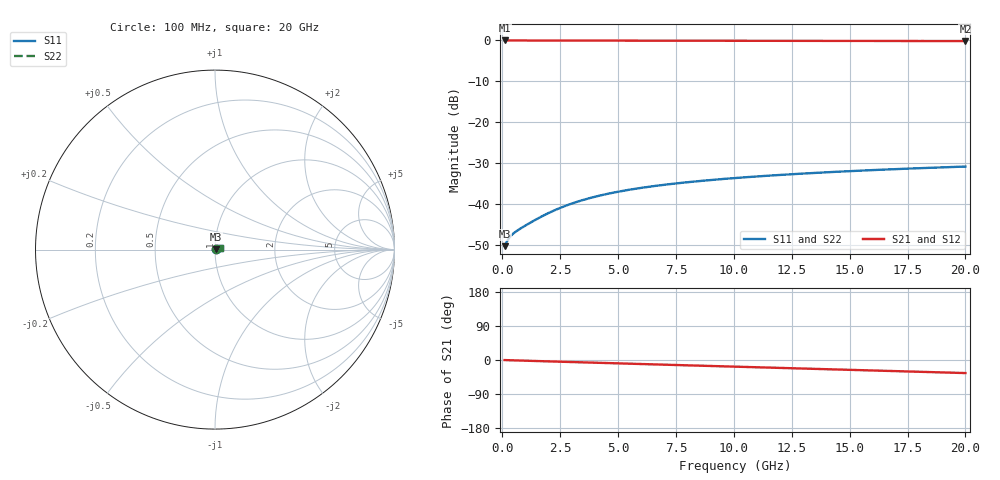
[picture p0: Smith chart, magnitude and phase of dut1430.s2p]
! Touchstone file exported from HFSS 2026.1.0
!  File:  C:/ffzhzh/LocalFiles/Ansys_Project_Files/temp_train_TMRDL_1430_1783166868_55132.aedt
!  Generated:  08:08:53 PM Jul  4, 2026
!  Design:  TMRDL
!  Project:  temp_train_TMRDL_1430_1783166868_55132
! Variables:
!  h_bsmrdl = 2um
!  h_ox = 20um
!  h_rdl = 5um
!  h_sub = 80um
!  h_tmrdl = 5.48um
!  h_tsv = 80um
!  h_via = 3um
!  l_bsmrdl = 300um
!  l_sub = 1028.89um
!  l_tmrdl = 628.89um
!  m_sub = 200um
!  pitch = 19.44um
!  r_tsv = 6um
!  s_tmrdl = 10um
!  w_bsmrdl = 18um
!  w_sub = 500um
!  w_tmrdl = 14.45um
!  x_tsv_center1 = 636.115um
!  x_tsv_center2 = 954.115um
!  x_tsv_center3 = 1597.455um
!  x_tsv_center4 = 1915.455um
!  x_tsv_center5 = 2558.795um
!  x_tsv_center6 = 2876.795um
# GHz S MA R 50.000000
! Terminal data exported
! Port[1] = TM_RDL1_1_T1
! Port[2] = TM_RDL1_1_T2
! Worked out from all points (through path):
!   200 points, 100 MHz to 20 GHz, reference 50 ohm
!   highest |S21| = -0.03 dB at 100 MHz (marker M1); lowest = -0.2 dB at 20 GHz (marker M2)
!   group delay of S21, straight-line fit = 4.76 ps
!   lowest |S11| = -50.3 dB at 100 MHz (marker M3), VSWR 1.01, Z = 50.3 + j0.0702 ohm
!   |S11| at or under -10 dB: start of sweep to end of sweep
!   |S22| runs from -50.3 to -30.9 dB; largest |S21 - S12| = 6.3e-15
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0.1  0.00307 13.1  0.997 -0.2  0.997 -0.2  0.00307 13.1
! Gamma 0 0 0 0
! Port Impedance 50 0 50 0
0.2  0.003503 20.0  0.9967 -0.4  0.9967 -0.4  0.003503 20.0
0.3  0.003891 23.2  0.9964 -0.6  0.9964 -0.6  0.003891 23.2
0.4  0.004195 25.1  0.9962 -0.8  0.9962 -0.8  0.004195 25.1
0.5  0.004442 26.8  0.996 -0.9  0.996 -0.9  0.004442 26.8
0.6  0.004661 28.5  0.9959 -1.1  0.9959 -1.1  0.00466 28.5
1.1  0.005698 36.1  0.9955 -2.0  0.9955 -2.0  0.005698 36.1
1.7  0.007076 41.9  0.9949 -3.1  0.9949 -3.1  0.007075 41.9
2  0.007798 43.5  0.9946 -3.6  0.9946 -3.6  0.007797 43.5
2.3  0.008522 44.5  0.9943 -4.2  0.9943 -4.2  0.00852 44.5
2.9  0.009937 45.3  0.9936 -5.2  0.9936 -5.2  0.009935 45.3
3.5  0.01127 45.0  0.9929 -6.3  0.9929 -6.3  0.01127 45.0
4.2  0.01271 43.9  0.992 -7.5  0.992 -7.5  0.0127 43.9
5  0.01418 42.4  0.991 -8.9  0.991 -8.9  0.01418 42.4
5.8  0.01551 40.7  0.9901 -10.3  0.9901 -10.3  0.0155 40.7
6.8  0.01698 38.5  0.9891 -12.0  0.9891 -12.0  0.01696 38.6
8.3  0.0189 35.5  0.9877 -14.6  0.9877 -14.6  0.01888 35.5
10.1  0.02089 32.1  0.9862 -17.7  0.9862 -17.7  0.02086 32.2
11.7  0.02247 29.3  0.985 -20.4  0.985 -20.4  0.02243 29.4
13.4  0.02399 26.4  0.9839 -23.3  0.9839 -23.3  0.02393 26.5
16.7  0.02659 20.8  0.9819 -28.9  0.9819 -28.9  0.02649 21.0
20  0.02877 15.3  0.9801 -34.5  0.9801 -34.5  0.02864 15.5
